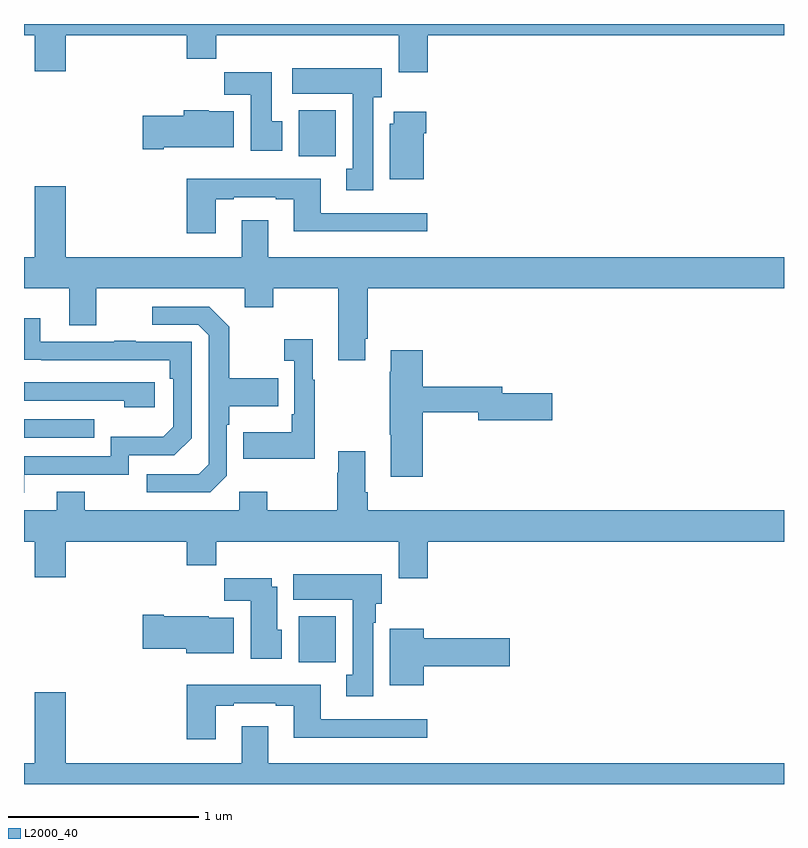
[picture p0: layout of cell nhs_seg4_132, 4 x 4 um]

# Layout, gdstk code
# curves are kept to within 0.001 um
import gdstk
lib = gdstk.Library(unit=1e-6, precision=1e-09)
def R(c, l, rs):  # rectangles x0, y0, x1, y1
    for r in rs: c.add(gdstk.rectangle(r[:2], r[2:], *l))
def P(c, l, *ps):  # polygons
    for p in ps: c.add(gdstk.Polygon(p, *l))
L2000_40 = (2000, 40)

nhs_seg4_132 = lib.new_cell('nhs_seg4_132')
R(nhs_seg4_132, L2000_40, [(118.445,773.54,118.642,773.782), (117,774.723,117.371,774.819), (118.445,776.204,118.642,776.446)])
P(nhs_seg4_132, L2000_40, [(119.126,776.84),(121,776.84),(121,776.9),(117,776.9),(117,776.84),(117.056,776.84),(117.056,776.652),(117.22,776.652),(117.22,776.84),(117.857,776.84),(117.857,776.716),(118.013,776.716),(118.013,776.84),(118.973,776.84),(118.973,776.646),(119.126,776.646)],
  [(118.837,776.514),(118.882,776.514),(118.882,776.668),(118.413,776.668),(118.413,776.534),(118.73,776.534),(118.73,776.138),(118.697,776.138),(118.697,776.025),(118.837,776.025)],
  [(118.36,776.388),(118.303,776.388),(118.303,776.647),(118.054,776.647),(118.054,776.528),(118.193,776.528),(118.193,776.232),(118.36,776.232)],
  [(117.736,776.252),(118.105,776.252),(118.105,776.44),(117.972,776.44),(117.972,776.446),(117.842,776.446),(117.842,776.418),(117.624,776.418),(117.624,776.24),(117.736,776.24)],
  [(119.104,776.324),(119.117,776.324),(119.117,776.437),(118.946,776.437),(118.946,776.376),(118.925,776.376),(118.925,776.084),(119.104,776.084)],
  [(118.009,775.977),(118.105,775.977),(118.105,775.989),(118.325,775.989),(118.325,775.977),(118.421,775.977),(118.421,775.808),(119.122,775.808),(119.122,775.905),(118.561,775.905),(118.561,776.086),(117.857,776.086),(117.857,775.8),(118.009,775.8)],
  [(118.795,775.243),(118.808,775.243),(118.808,775.508),(121,775.508),(121,775.672),(118.285,775.672),(118.285,775.867),(118.145,775.867),(118.145,775.672),(117.22,775.672),(117.22,776.047),(117.056,776.047),(117.056,775.672),(117,775.672),(117,775.508),(117.239,775.508),(117.239,775.314),(117.379,775.314),(117.379,775.508),(118.163,775.508),(118.163,775.409),(118.311,775.409),(118.311,775.508),(118.655,775.508),(118.655,775.131),(118.795,775.131)],
  [(118.068,774.522),(118.068,774.791),(118.081,774.791),(118.081,774.887),(118.337,774.887),(118.337,775.035),(118.081,775.035),(118.081,775.307),(117.975,775.413),(117.675,775.413),(117.675,775.317),(117.918,775.317),(117.972,775.263),(117.972,774.582),(117.921,774.531),(117.645,774.531),(117.645,774.435),(117.981,774.435)],
  [(117.001,774.528),(117.552,774.528),(117.552,774.63),(117.792,774.63),(117.882,774.72),(117.882,775.227),(117.587,775.227),(117.587,775.232),(117.475,775.232),(117.475,775.227),(117.085,775.227),(117.085,775.351),(117,775.351),(117,775.132),(117.766,775.131),(117.766,775.034),(117.786,775.034),(117.786,774.78),(117.733,774.727),(117.456,774.727),(117.456,774.624),(117,774.624),(117,774.432)],
  [(118.531,775.027),(118.519,775.027),(118.519,775.24),(118.371,775.24),(118.371,775.127),(118.422,775.127),(118.422,774.847),(118.41,774.847),(118.41,774.751),(118.153,774.751),(118.153,774.611),(118.531,774.611)],
  [(119.099,774.856),(119.39,774.856),(119.39,774.814),(119.779,774.814),(119.779,774.956),(119.518,774.956),(119.518,774.992),(119.099,774.992),(119.099,775.183),(118.931,775.183),(118.931,775.07),(118.924,775.07),(118.924,774.739),(118.931,774.739),(118.931,774.516),(119.099,774.516)],
  [(117.688,775.014),(117,775.014),(117,774.918),(117.527,774.918),(117.527,774.884),(117.688,774.884)],
  [(119.126,774.176),(121,774.176),(121,774.34),(118.808,774.34),(118.808,774.436),(118.795,774.436),(118.795,774.652),(118.655,774.652),(118.655,774.539),(118.648,774.539),(118.648,774.34),(118.281,774.34),(118.281,774.439),(118.134,774.439),(118.134,774.34),(117.321,774.34),(117.321,774.439),(117.173,774.439),(117.173,774.34),(117,774.34),(117,774.176),(117.056,774.176),(117.056,773.988),(117.22,773.988),(117.22,774.176),(117.857,774.176),(117.857,774.052),(118.013,774.052),(118.013,774.176),(118.973,774.176),(118.973,773.982),(119.126,773.982)],
  [(118.837,773.75),(118.852,773.75),(118.852,773.85),(118.882,773.85),(118.882,774.004),(118.418,774.004),(118.418,773.87),(118.73,773.87),(118.73,773.474),(118.697,773.474),(118.697,773.361),(118.837,773.361)],
  [(118.357,773.712),(118.333,773.712),(118.333,773.938),(118.303,773.938),(118.303,773.983),(118.054,773.983),(118.054,773.864),(118.193,773.864),(118.193,773.558),(118.357,773.558)],
  [(118.105,773.776),(117.972,773.776),(117.972,773.782),(117.736,773.782),(117.736,773.79),(117.624,773.79),(117.624,773.612),(117.854,773.612),(117.854,773.588),(118.105,773.588)],
  [(119.104,773.519),(119.557,773.519),(119.557,773.666),(119.104,773.666),(119.104,773.716),(118.925,773.716),(118.925,773.42),(119.104,773.42)],
  [(118.009,773.313),(118.105,773.313),(118.105,773.325),(118.325,773.325),(118.325,773.313),(118.421,773.313),(118.421,773.144),(119.122,773.144),(119.122,773.241),(118.561,773.241),(118.561,773.422),(117.857,773.422),(117.857,773.136),(118.009,773.136)],
  [(121,773.008),(118.285,773.008),(118.285,773.203),(118.145,773.203),(118.145,773.008),(117.22,773.008),(117.22,773.383),(117.056,773.383),(117.056,773.008),(117,773.008),(117,772.9),(121,772.9)])

lib.write_gds('nhs_seg4_132.gds')
